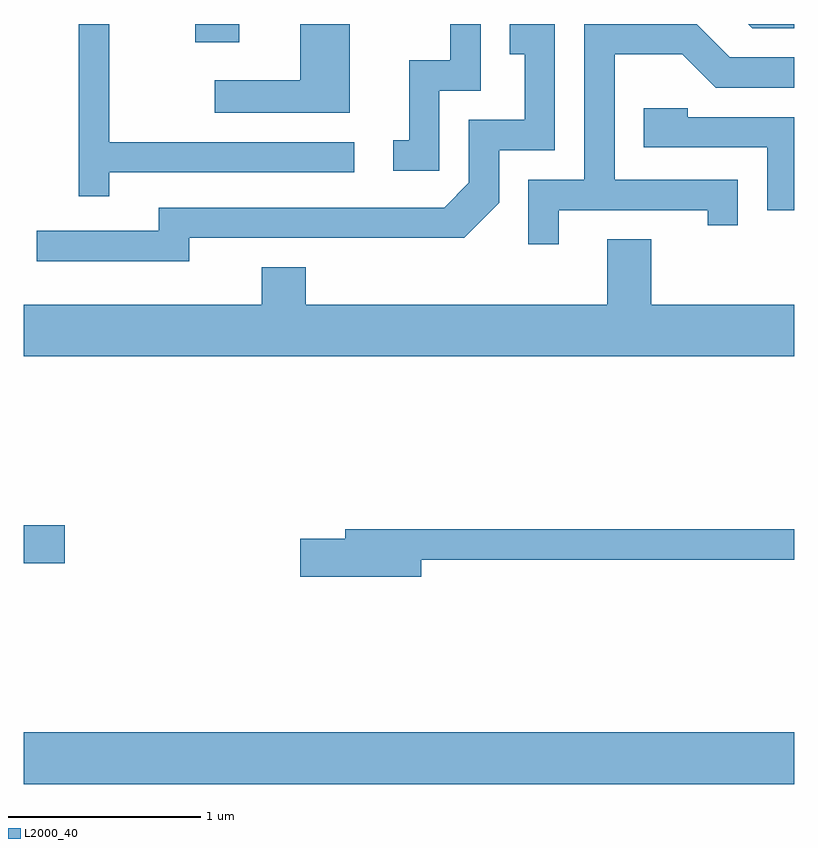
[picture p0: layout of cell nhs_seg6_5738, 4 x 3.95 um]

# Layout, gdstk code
import gdstk
lib = gdstk.Library(unit=1e-6, precision=1e-09)
def R(c, l, rs):  # rectangles x0, y0, x1, y1
    for r in rs: c.add(gdstk.rectangle(r[:2], r[2:], *l))
def P(c, l, *ps):  # polygons
    for p in ps: c.add(gdstk.Polygon(p, *l))
L2000_40 = (2000, 40)

nhs_seg6_5738 = lib.new_cell('nhs_seg6_5738')
R(nhs_seg6_5738, L2000_40, [(359.611,1592.216,363.611,1592.484), (359.611,1593.361,359.824,1593.559), (360.501,1596.066,360.729,1596.162)])
P(nhs_seg6_5738, L2000_40, [(360.054,1595.391),(361.328,1595.391),(361.328,1595.549),(360.054,1595.549),(360.054,1596.162),(359.896,1596.162),(359.896,1595.268),(360.054,1595.268)],
  [(361.769,1595.816),(361.984,1595.816),(361.984,1596.162),(361.826,1596.162),(361.826,1595.974),(361.611,1595.974),(361.611,1595.559),(361.528,1595.559),(361.528,1595.401),(361.769,1595.401)],
  [(363.611,1596.162),(363.373,1596.162),(363.394,1596.141),(363.611,1596.141)],
  [(361.304,1596.162),(361.046,1596.162),(361.046,1595.869),(360.603,1595.869),(360.603,1595.701),(361.304,1595.701)],
  [(360.469,1595.051),(361.897,1595.051),(362.079,1595.234),(362.079,1595.506),(362.369,1595.506),(362.369,1596.162),(362.133,1596.162),(362.133,1596.006),(362.211,1596.006),(362.211,1595.664),(361.921,1595.664),(361.921,1595.337),(361.794,1595.209),(360.311,1595.209),(360.311,1595.089),(359.678,1595.089),(359.678,1594.931),(360.469,1594.931)],
  [(362.389,1595.196),(363.161,1595.196),(363.161,1595.118),(363.319,1595.118),(363.319,1595.354),(362.679,1595.354),(362.679,1596.006),(363.029,1596.006),(363.204,1595.831),(363.611,1595.831),(363.611,1595.989),(363.277,1595.989),(363.104,1596.162),(362.521,1596.162),(362.521,1595.354),(362.231,1595.354),(362.231,1595.018),(362.389,1595.018)],
  [(363.611,1595.679),(363.059,1595.679),(363.059,1595.724),(362.831,1595.724),(362.831,1595.521),(363.471,1595.521),(363.471,1595.196),(363.611,1595.196)],
  [(363.611,1594.704),(362.869,1594.704),(362.869,1595.044),(362.641,1595.044),(362.641,1594.704),(361.074,1594.704),(361.074,1594.899),(360.846,1594.899),(360.846,1594.704),(359.611,1594.704),(359.611,1594.436),(363.611,1594.436)],
  [(361.674,1593.381),(363.611,1593.381),(363.611,1593.539),(361.281,1593.539),(361.281,1593.489),(361.046,1593.489),(361.046,1593.291),(361.674,1593.291)])

lib.write_gds('nhs_seg6_5738.gds')
